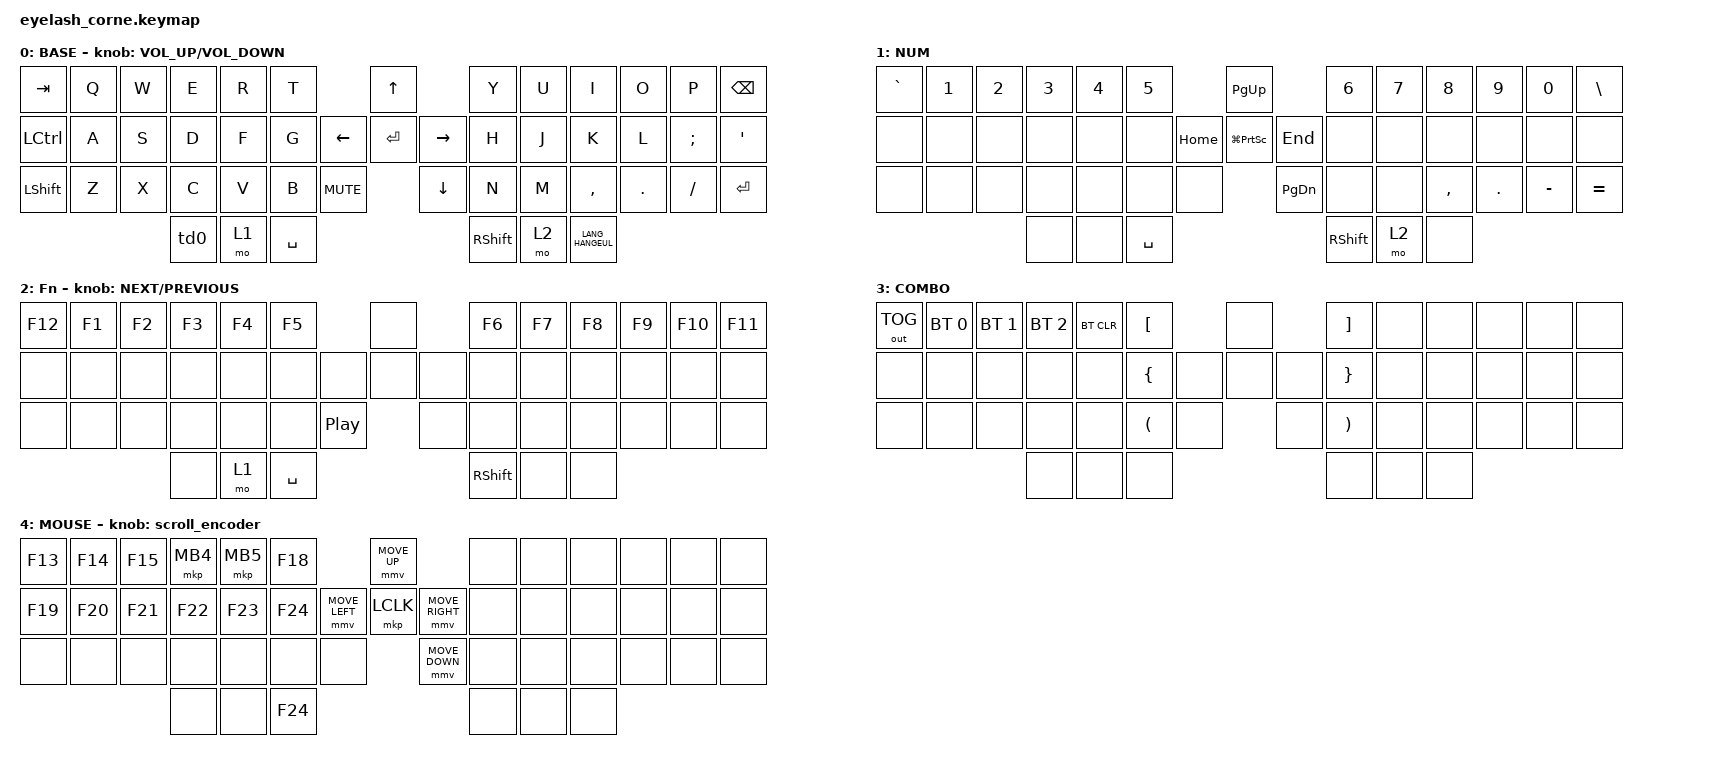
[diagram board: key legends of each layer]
#define ZMK_POINTING_DEFAULT_MOVE_VAL 1200  // 600
#define ZMK_POINTING_DEFAULT_SCRL_VAL 25   // 10

#include <input/processors.dtsi>
#include <zephyr/dt-bindings/input/input-event-codes.h>
#include <behaviors.dtsi>
#include <dt-bindings/zmk/bt.h>
#include <dt-bindings/zmk/keys.h>
#include <dt-bindings/zmk/outputs.h>
#include <dt-bindings/zmk/pointing.h>
#include <dt-bindings/zmk/rgb.h>

&mmv_input_listener { input-processors = <&zip_xy_scaler 2 1>; };

&msc_input_listener { input-processors = <&zip_scroll_scaler 2 1>; };

&msc {
    acceleration-exponent = <1>;      // 0
    time-to-max-speed-ms = <100>;       // 300
    delay-ms = <0>;                   // 0
};

&mmv {
    time-to-max-speed-ms = <500>;
    acceleration-exponent = <1>;
    trigger-period-ms = <16>;
};

/ {
    behaviors {
        td0: td0 {
            compatible = "zmk,behavior-tap-dance";
            display-name = "Shift/Caps Lock Tap Dance";
            #binding-cells = <0>;
            bindings = <&kp LEFT_ALT>, <&kp LEFT_WIN>;

            tapping-term-ms = <250>;
        };

        td1: td1 {
            compatible = "zmk,behavior-tap-dance";
            label = "TD1";
            #binding-cells = <0>;
            bindings = <&kp LEFT_SHIFT>, <&mkp MB2>;

            tapping-term-ms = <250>;
        };
    };

    rgb_encoder: rgb_encoder {
        compatible = "zmk,behavior-sensor-rotate";
        #sensor-binding-cells = <0>;
        bindings = <&rgb_ug RGB_BRI>, <&rgb_ug RGB_BRD>;
    };

    scroll_encoder: scroll_encoder {
        compatible = "zmk,behavior-sensor-rotate";
        #sensor-binding-cells = <0>;
        bindings = <&msc SCRL_DOWN>, <&msc SCRL_UP>;

        tap-ms = <100>;
    };

    combos {
        compatible = "zmk,combos";

        Escape {
            bindings = <&kp ESCAPE>;
            key-positions = <0 1>;
        };

        Delete {
            bindings = <&kp DELETE>;
            key-positions = <11 12>;
        };

        mouse_layer {
            bindings = <&tog 4>;
            key-positions = <34 20>;
        };
    };

    keymap {
        compatible = "zmk,keymap";

        default_layer {
            display-name = "BASE";
            bindings = <
&kp TAB     &kp Q  &kp W  &kp E  &kp R  &kp T                              &kp UP                &kp Y      &kp U  &kp I             &kp O    &kp P     &kp BSPC
&kp LCTRL   &kp A  &kp S  &kp D  &kp F  &kp G                    &kp LEFT  &kp ENTER  &kp RIGHT  &kp H      &kp J  &kp K             &kp L    &kp SEMI  &kp SQT
&kp LSHIFT  &kp Z  &kp X  &kp C  &kp V  &kp B      &kp C_MUTE              &kp DOWN              &kp N      &kp M  &kp COMMA         &kp DOT  &kp FSLH  &kp RET
                          &td0   &mo 1  &kp SPACE                                                &kp RSHFT  &mo 2  &kp LANG_HANGEUL
            >;

            sensor-bindings = <&inc_dec_kp C_VOLUME_UP C_VOLUME_DOWN>;
        };

        lower_layer {
            display-name = "NUM";
            bindings = <
&kp GRAVE  &kp N1  &kp N2  &kp N3  &kp N4  &kp N5                        &kp PAGE_UP                   &kp N6           &kp N7  &kp N8     &kp N9   &kp N0     &kp BACKSLASH
&none      &none   &none   &none   &none   &none               &kp HOME  &kp LG(PRINTSCREEN)  &kp END  &none            &none   &none      &none    &none      &none
&none      &none   &none   &none   &none   &none      &none              &kp PAGE_DOWN                 &none            &none   &kp COMMA  &kp DOT  &kp MINUS  &kp EQUAL
                           &none   &none   &kp SPACE                                                   &kp RIGHT_SHIFT  &mo 2   &none
            >;
        };

        raise_layer {
            display-name = "Fn";
            bindings = <
&kp F12  &kp F1  &kp F2  &kp F3  &kp F4  &kp F5                                &none         &kp F6     &kp F7  &kp F8  &kp F9  &kp F10  &kp F11
&none    &none   &none   &none   &none   &none                          &none  &none  &none  &none      &none   &none   &none   &none    &none
&none    &none   &none   &none   &none   &none      &kp C_PLAY_PAUSE           &none         &none      &none   &none   &none   &none    &none
                         &none   &mo 1   &kp SPACE                                           &kp RSHFT  &none   &none
            >;

            sensor-bindings = <&inc_dec_kp C_NEXT C_PREVIOUS>;
        };

        combo_layer {
            display-name = "COMBO";
            bindings = <
&out OUT_TOG  &bt BT_SEL 0  &bt BT_SEL 1  &bt BT_SEL 2  &bt BT_CLR  &kp LEFT_BRACKET                      &none         &kp RIGHT_BRACKET      &none  &none  &none  &none  &none
&none         &none         &none         &none         &none       &kp LEFT_BRACE                 &none  &none  &none  &kp RIGHT_BRACE        &none  &none  &none  &none  &none
&none         &none         &none         &none         &none       &kp LEFT_PARENTHESIS  &none           &none         &kp RIGHT_PARENTHESIS  &none  &none  &none  &none  &none
                                          &none         &none       &none                                               &none                  &none  &none
            >;
        };

        mouse_layer {
            bindings = <
&kp F13  &kp F14  &kp F15  &mkp MB4  &mkp MB5  &kp F18                           &mmv MOVE_UP                     &none  &none  &none  &none  &none  &none
&kp F19  &kp F20  &kp F21  &kp F22   &kp F23   &kp F24           &mmv MOVE_LEFT  &mkp LCLK       &mmv MOVE_RIGHT  &none  &none  &none  &none  &none  &none
&none    &none    &none    &none     &none     &none    &none                    &mmv MOVE_DOWN                   &none  &none  &none  &none  &none  &none
                           &none     &none     &kp F24                                                            &none  &none  &none
            >;

            sensor-bindings = <&scroll_encoder>;
            label = "MOUSE";
        };
    };

    conditional_layers {
        compatible = "zmk,conditional-layers";

        L3 {
            if-layers = <1 2>;
            then-layer = <3>;
        };
    };
};
